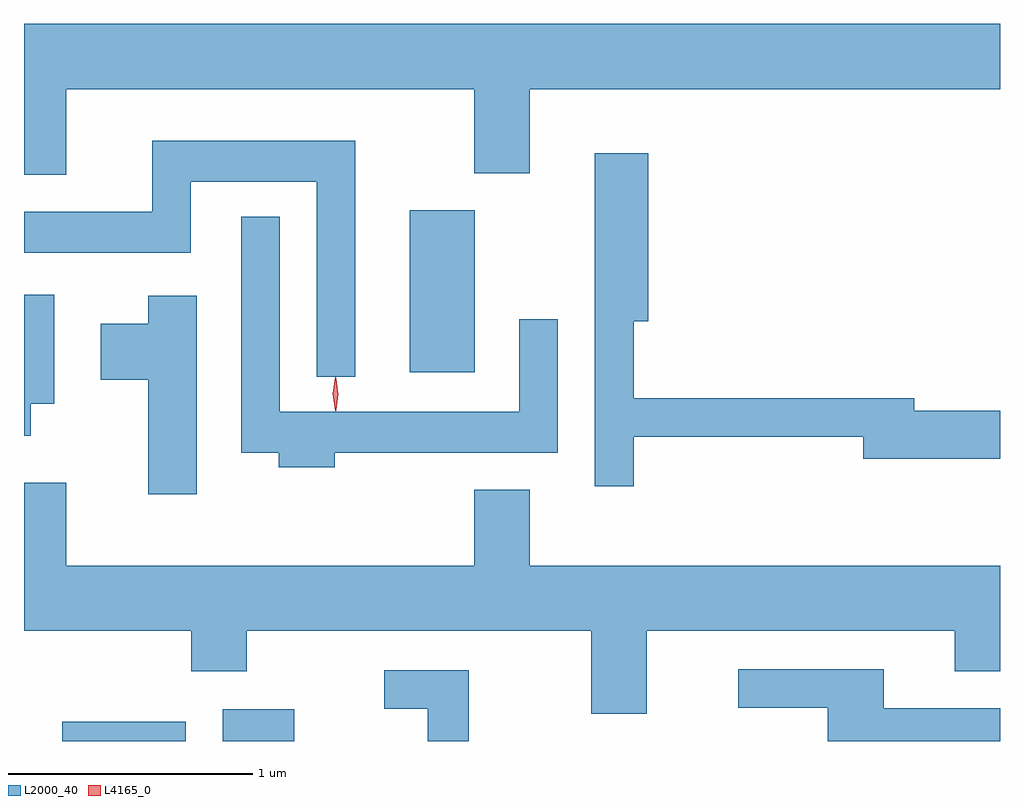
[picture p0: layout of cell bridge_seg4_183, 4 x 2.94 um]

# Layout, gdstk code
import gdstk
lib = gdstk.Library(unit=1e-6, precision=1e-09)
def R(c, l, rs):  # rectangles x0, y0, x1, y1
    for r in rs: c.add(gdstk.rectangle(r[:2], r[2:], *l))
def P(c, l, *ps):  # polygons
    for p in ps: c.add(gdstk.Polygon(p, *l))
L2000_40 = (2000, 40)
L4165_0 = (4165, 0)

bridge_seg4_183 = lib.new_cell('bridge_seg4_183')
R(bridge_seg4_183, L2000_40, [(1039.303,1312.044,1039.809,1312.124), (1039.961,1312.044,1040.254,1312.174), (1040.726,1313.556,1040.994,1314.219)])
P(bridge_seg4_183, L2000_40, [(1039.319,1314.716),(1040.991,1314.716),(1040.991,1314.371),(1041.219,1314.371),(1041.219,1314.716),(1043.146,1314.716),(1043.146,1314.984),(1039.146,1314.984),(1039.146,1314.366),(1039.319,1314.366)],
  [(1040.504,1314.504),(1039.671,1314.504),(1039.671,1314.214),(1039.146,1314.214),(1039.146,1314.046),(1039.829,1314.046),(1039.829,1314.336),(1040.346,1314.336),(1040.346,1313.538),(1040.504,1313.538)],
  [(1041.644,1313.291),(1042.586,1313.291),(1042.586,1313.201),(1043.146,1313.201),(1043.146,1313.399),(1042.794,1313.399),(1042.794,1313.449),(1041.644,1313.449),(1041.644,1313.766),(1041.704,1313.766),(1041.704,1314.454),(1041.486,1314.454),(1041.486,1313.088),(1041.644,1313.088)],
  [(1040.419,1313.226),(1041.334,1313.226),(1041.334,1313.773),(1041.176,1313.773),(1041.176,1313.394),(1040.194,1313.394),(1040.194,1314.193),(1040.036,1314.193),(1040.036,1313.226),(1040.191,1313.226),(1040.191,1313.166),(1040.419,1313.166)],
  [(1039.174,1313.426),(1039.269,1313.426),(1039.269,1313.874),(1039.146,1313.874),(1039.146,1313.296),(1039.174,1313.296)],
  [(1039.854,1313.869),(1039.656,1313.869),(1039.656,1313.754),(1039.461,1313.754),(1039.461,1313.526),(1039.656,1313.526),(1039.656,1313.056),(1039.854,1313.056)],
  [(1041.699,1312.496),(1042.961,1312.496),(1042.961,1312.331),(1043.146,1312.331),(1043.146,1312.764),(1041.219,1312.764),(1041.219,1313.074),(1040.991,1313.074),(1040.991,1312.764),(1039.319,1312.764),(1039.319,1313.104),(1039.146,1313.104),(1039.146,1312.496),(1039.831,1312.496),(1039.831,1312.331),(1040.059,1312.331),(1040.059,1312.496),(1041.471,1312.496),(1041.471,1312.156),(1041.699,1312.156)],
  [(1043.146,1312.179),(1042.669,1312.179),(1042.669,1312.339),(1042.073,1312.339),(1042.073,1312.181),(1042.441,1312.181),(1042.441,1312.044),(1043.146,1312.044)],
  [(1040.969,1312.334),(1040.623,1312.334),(1040.623,1312.176),(1040.801,1312.176),(1040.801,1312.044),(1040.969,1312.044)])
P(bridge_seg4_183, L4165_0, [(1040.422,1313.397),(1040.422,1313.398),(1040.412,1313.467),(1040.422,1313.536),(1040.422,1313.536),(1040.423,1313.536),(1040.432,1313.467),(1040.423,1313.398)],
  [(1040.425,1313.399),(1040.424,1313.4),(1040.415,1313.466),(1040.424,1313.532),(1040.424,1313.533),(1040.425,1313.532),(1040.434,1313.466),(1040.425,1313.4)])

lib.write_gds('bridge_seg4_183.gds')
